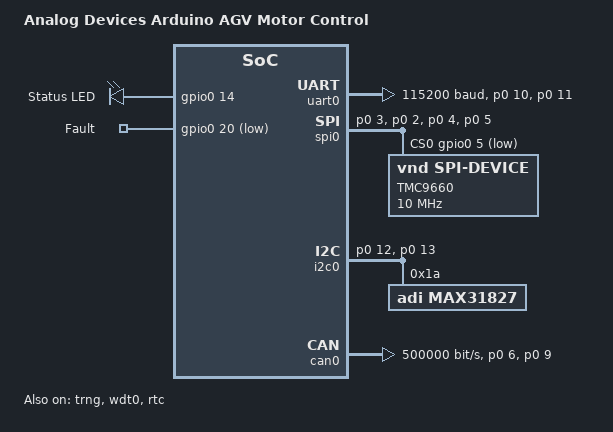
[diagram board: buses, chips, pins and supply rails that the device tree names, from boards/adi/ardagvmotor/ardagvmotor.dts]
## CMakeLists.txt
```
cmake_minimum_required(VERSION 3.20.0)

# Get git revision or tag
execute_process(
	COMMAND git describe --tags --long --always --dirty
	WORKING_DIRECTORY ${CMAKE_CURRENT_SOURCE_DIR}
	OUTPUT_VARIABLE GIT_DESCRIBE
	OUTPUT_STRIP_TRAILING_WHITESPACE
)

add_compile_definitions(GIT_REVISION_STR="${GIT_DESCRIBE}")


# Bring in OOT board definition
list(APPEND BOARD_ROOT ${CMAKE_CURRENT_SOURCE_DIR})

find_package(Zephyr REQUIRED HINTS $ENV{ZEPHYR_BASE})
project(motor_control)

zephyr_include_directories(src)

target_sources(app PRIVATE
	src/main.c
	src/tmc9660.c
	objdict/OD.c
	src/cia402.c
	src/tmc9660_params.c
	src/storage.c
)

zephyr_include_directories(objdict)
```

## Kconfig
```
source "Kconfig.zephyr"

config SHELL_TMC_PARAMS
    bool "tmc_params shell commands"
    depends on SHELL

config TMC_RWE_PARAM_NAMES
    bool "Provide name strings for TMC9660 RWE parameters (persistent configuration)"
    depends on SHELL_TMC_PARAMS

config TMC_ALL_PARAM_NAMES
    bool "Provide name strings for all TMC9660 parameters"
    depends on SHELL_TMC_PARAMS

config CIA402_THREAD_STACK_SIZE
    int "CiA 402 thread stack size"
    default 1024
```

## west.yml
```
manifest:
  version: 0.7
  remotes:
    - name: innersource-ioan
      url-base: innersource:Ioan-Dragomir_adi
    - name: analogdevicesinc
      url-base: https://github.com/analogdevicesinc
    - name: zephyrproject-rtos
      url-base: https://github.com/zephyrproject-rtos
    - name: NTURacingTeam
      url-base: https://github.com/NTURacingTeam
  defaults:
    remote: zephyrproject-rtos
  projects:
    - name: zephyr
      remote: innersource-ioan
      revision: custom-zephyr-agv 
      import: true
    - name: canopennode
      remote: NTURacingTeam
      revision: 2487004b06e035efe211ee1a80e5b19a63530d78
      path: modules/canopennode
  self:
    path: ardagvmotor
```

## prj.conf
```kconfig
CONFIG_CAN=y
CONFIG_CANOPEN=y
CONFIG_CANOPEN_LOG_LEVEL_INF=y
CONFIG_CANOPENNODE=y
CONFIG_CANOPENNODE_CONFIG_FILE="CO_config_custom.h"
CONFIG_CANOPENNODE_MAINLINE_THREAD_STACK_SIZE=2048
CONFIG_CANOPENNODE_SYNC_THREAD_STACK_SIZE=2048

CONFIG_CANOPENNODE_LEDS_USE_GPIO=n
CONFIG_CANOPENNODE_LEDS_USE_CALLBACK=y

CONFIG_LOG=y
CONFIG_REBOOT=y
CONFIG_LOG_SPEED=y

#CONFIG_CAN_LOG_LEVEL_DBG=y
#CONFIG_CANOPEN_LOG_LEVEL_DBG=y

CONFIG_SHELL=y
CONFIG_SHELL_TMC_PARAMS=y
CONFIG_TMC_RWE_PARAM_NAMES=y

CONFIG_SMF=y

CONFIG_FLASH=y
CONFIG_NVS=y
CONFIG_NVS_LOG_LEVEL_DBG=y
```

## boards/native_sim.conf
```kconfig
CONFIG_NO_OPTIMIZATIONS=y
CONFIG_CAN_NATIVE_LINUX=y

CONFIG_CAN_MAX_FILTER=20
CONFIG_CANOPEN_LOG_LEVEL_DBG=y
```

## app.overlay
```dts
&flash0 {
    partitions {
        compatible = "fixed-partitions";
        #address-cells = <0x1>;
        #size-cells = <0x1>;

        storage_partition: partition@3c000 {
            label = "storage";
            reg = <0x3c000 0x4000>;
        };

        /* Tell the linker to leave it alone: */
        /*memory@1003c000 {
            compatible = "zephyr,memory-region";
            reg = <0x1003c000 0x4000>;
            zephyr,memory-region = "STORAGE";
        }*/
    };
};
```

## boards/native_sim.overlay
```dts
/ {
	chosen {
		zephyr,canbus = &can0;
	};
};

&can0 {
	status = "okay";
	host-interface = "vcan0";
};
```

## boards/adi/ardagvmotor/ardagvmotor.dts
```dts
/dts-v1/;

#include <adi/max32/max32662.dtsi>
#include <adi/max32/max32662-pinctrl.dtsi>
#include <zephyr/dt-bindings/gpio/adi-max32-gpio.h>

/ {
	soc {
		sram_all: memory@20000000 {
			compatible = "mmio-sram";
			reg = <0x20000000 DT_SIZE_K(80)>;
		};
    };
};

/ {
    model = "Analog Devices Arduino AGV Motor Control";
    compatible = "adi,ardagvmotor";

    chosen {
        zephyr,console = &uart0;
        zephyr,shell-uart = &uart0;
        zephyr,sram = &sram_all;
        zephyr,flash = &flash0;
        zephyr,canbus = &can0;
    };

    leds {
        compatible = "gpio-leds";
        status = "okay";

        led_status: led-status {
            gpios = <&gpio0 14 GPIO_ACTIVE_HIGH>;
            label = "Status LED";
            status = "okay";
        };
        
    };
    
    buttons {
        compatible = "gpio-keys";
        status = "okay";
        
        /* Can also be used as output to flash fault LED. */
        fault: fault {
            gpios = <&gpio0 20 (GPIO_ACTIVE_LOW)>;
            label = "Fault";
            status = "okay";
        };
    };

    aliases {
        /* Compatibility with samples */
        led0 = &led_status;
        watchdog0 = &wdt0;
    };
};

&clk_erfo {
    clock-frequency = < 24576000 >;
};

/* UART0 - debug (A) / TMC (B) UART */
&uart0 {
    pinctrl-0 = <&uart0a_tx_p0_10 &uart0a_rx_p0_11>;
    pinctrl-names = "default";
    current-speed = <115200>;
    data-bits = <8>;
    parity = "none";
    status = "okay";
};

&spi0 {
    status = "okay";
    pinctrl-0 = <&spi0a_copi_p0_3 &spi0a_cito_p0_2 &spi0a_sck_p0_4 &spi0a_ts0_p0_5>;
    pinctrl-names = "default";
    cs-gpios = <&gpio0 5 GPIO_ACTIVE_LOW>;
    
    tmc9660_spi: tmc9660-spi@0 {
        compatible = "vnd,spi-device";
        reg = <0>;
        spi-max-frequency = <10000000>;
        label = "TMC9660";
        status = "okay";
    };
};

&i2c0 {
	status = "okay";
	pinctrl-0 = <&i2c0a_scl_p0_12 &i2c0a_sda_p0_13>;
	pinctrl-names = "default";

    max31827@1a {
        compatible = "adi,max31827";
        reg = <0x1a>;
        label = "MAX31827";
        status = "okay";
    };
};

&can0 {
    status = "okay";
    pinctrl-0 = <&can0b_rx_p0_6 &can0b_tx_p0_9>;
    pinctrl-names = "default";
    bitrate = <500000>;
    sample-point = <850>;
};

&clk_ipo {
    status = "okay";
};

&dma0 {
    status = "okay";
};

&gpio0 {
    status = "okay";
};

&trng {
    status = "okay";
};

&wdt0 {
    status = "okay";
};

&clk_ertco {
    status = "okay";
};

/* adi-innersource: rtc
   zephyrprojext-rtos: rtc_clock */
&rtc {
    status = "okay";
};
```

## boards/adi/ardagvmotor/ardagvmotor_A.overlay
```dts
/ {
    buttons {
        btn: btn {
            gpios = <&gpio0 15 0>;
            label = "User button";
            status = "okay";
        };
    };

    aliases {
        sw0 = &btn;
    };
};

/* In revA boards, UART1 may be selected for communication with the TMC9660,
 * with solder jumpers JP2,3 set to position 1-2 */
 &uart1 {
    pinctrl-0 = <&uart1b_tx_p0_2 &uart1b_rx_p0_3>;
    pinctrl-names = "default";
    current-speed = <115200>; /* Up to 250k with auto baud detection, up to 5M if explicitly bootstrapped */
    data-bits = <8>;
    parity = "none";
    status = "disabled";
};
```

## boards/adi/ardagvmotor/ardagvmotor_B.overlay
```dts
/ {
    buttons {
        dip_sw: dip {
            gpios = <&gpio0 19 0>, <&gpio0 18 0>, <&gpio0 15 0>;
            label = "DIP Switch";
            status = "okay";
        };
    };
};
```

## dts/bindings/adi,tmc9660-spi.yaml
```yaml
# Copyright (c) 2024 Analog Devices, Inc.
# SPDX-License-Identifier: Apache-2.0

description: TMC9660 SPI

include:
  - name: spi-device.yaml

compatible: "adi,tmc9660-spi"
```

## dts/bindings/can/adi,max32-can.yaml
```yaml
# Copyright (c) 2024 Analog Devices, Inc.
# SPDX-License-Identifier: Apache-2.0

description: ADI MAX32 CAN

include:
  - name: can-controller.yaml
  - name: pinctrl-device.yaml

compatible: "adi,max32-can"

properties:
  reg:
    required: true

  interrupts:
    required: true

  pinctrl-0:
    type: phandles
    required: true
```

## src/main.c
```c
#include <zephyr/kernel.h>
#include <zephyr/drivers/gpio.h>
#include <zephyr/drivers/spi.h>
#include <zephyr/logging/log.h>
#include <zephyr/logging/log_ctrl.h>
#include <canopennode.h>

#include "tmc9660.h"
#include "cia402.h"
#include "OD.h"
#include "tmc9660_params.h"
#include "storage.h"

LOG_MODULE_REGISTER(main, LOG_LEVEL_INF);

static const struct gpio_dt_spec led_green = GPIO_DT_SPEC_GET(DT_PATH(leds, led_status), gpios);
static const struct gpio_dt_spec led_fault = GPIO_DT_SPEC_GET(DT_PATH(buttons, fault), gpios);
static const struct spi_dt_spec spi0 = SPI_DT_SPEC_GET(DT_NODELABEL(tmc9660_spi), SPI_MODE_CPHA | SPI_MODE_CPOL | SPI_WORD_SET(8), 0);
static const struct device *can = DEVICE_DT_GET(DT_CHOSEN(zephyr_canbus));

static const struct gpio_dt_spec dip1 = GPIO_DT_SPEC_GET_BY_IDX(DT_PATH(buttons, dip), gpios, 0);
static const struct gpio_dt_spec dip2 = GPIO_DT_SPEC_GET_BY_IDX(DT_PATH(buttons, dip), gpios, 1);
static const struct gpio_dt_spec dip3 = GPIO_DT_SPEC_GET_BY_IDX(DT_PATH(buttons, dip), gpios, 2);

#define CAN_BITRATE (DT_PROP_OR(DT_CHOSEN(zephyr_canbus), bitrate, \
					  DT_PROP_OR(DT_CHOSEN(zephyr_canbus), bus_speed, \
						     CONFIG_CAN_DEFAULT_BITRATE)) / 1000)

struct tmc9660_dev g_tmc9660;
struct canopen co;
struct cia402 cia402;

static struct k_thread cia402_thread_data;

K_THREAD_STACK_DEFINE(cia402_thread_stack, CONFIG_CIA402_THREAD_STACK_SIZE);

/* Indicator LEDs */

/* CiA 303-3 standardizes how to indicate the status of the device using a red
 * and green LED, covering blink patterns for various errors / states.
 */
void led_callback(struct canopen *co, bool green, bool red)
{
    gpio_pin_set_dt(&led_green, green);

	/* Red LED is shared between the TMC and MAX. To light it up,
	* its GPIO must be enabled and pulled low. To turn it off,
	* its GPIO should be floated, so that the TMC may control it, and also so
	* we can read the TMC fault line, if need be.
	*/
    gpio_pin_configure_dt(&led_fault, red ? GPIO_OUTPUT_ACTIVE : GPIO_INPUT);
}

int init_leds()
{
    int err;

    if(!gpio_is_ready_dt(&led_green))
    {
        LOG_ERR("Green LED device not ready");
        return -1;
    }
    
    if(!gpio_is_ready_dt(&led_fault))
    {
        LOG_ERR("Red LED device not ready");
        return -1;
    }

    if((err = gpio_pin_configure_dt(&led_green, GPIO_OUTPUT_INACTIVE)))
    {
        LOG_ERR("Green LED configure failed: %d", err);
        return err;
    }
    
    if((err = gpio_pin_configure_dt(&led_fault, GPIO_INPUT)))
    {
        LOG_ERR("Fault LED configure failed: %d", err);
        return err;
    }

    return 0;
}

/* CiA402 application-specific callbacks */
void cia402_cb_initialize() {
    // tmc9660_motor_stop(&g_tmc9660);
    
    tmc9660_set_param_retry(&g_tmc9660, COMMUTATION_MODE, 0, 3);

    // Initialization is already done. If it would have failed, cia402 wouldn't
    // have been initialized in the first place.
}

void cia402_cb_start() {
    tmc9660_set_param_retry(&g_tmc9660, COMMUTATION_MODE, 5, 3);
}

bool cia402_cb_is_started() {
    // Check if ABN1 is initialized. TODO: support for non-ABN setups
    int val;
    int ret = tmc9660_get_param_retry(&g_tmc9660, ABN_1_INIT_STATE, &val, 3);
    return ret == 0 && val == 3;
}

void cia402_cb_stop() {
    // tmc9660_motor_stop(&g_tmc9660);
    tmc9660_set_param_retry(&g_tmc9660, COMMUTATION_MODE, 0, 3);

    // Set OD target velocity to 0 so next time the motor starts, it doesn't jolt back to the last seen velocity value.
    OD_set_i32(OD_ENTRY_H60FF_targetVelocity, 0, 0, false);
}

bool cia402_cb_is_stopped() {
    // Check if commutation mode is SYSTEM_OFF, seems like that's what is set after MST
    // TODO: check if logic still stands with soft stops
    int val;
    int ret = tmc9660_get_param_retry(&g_tmc9660, COMMUTATION_MODE, &val, 3);
    return ret == 0 && val == 0;
}

void cia402_cb_oops() {
    k_oops();
}

void sync_callback(struct canopen *co, bool sync) {
    if(!sync) return;
    if(cia402_current_state(&cia402) != CIA402_OPERATION_ENABLED) return;

    int target_vel;
    int err = OD_get_i32(OD_ENTRY_H60FF_targetVelocity, 0, &target_vel, false);
    if(err != ODR_OK)
    {
        LOG_ERR("Could not read OD Target Velocity");
        return;
    }

    LOG_DBG("vel = %d", target_vel);
    tmc9660_set_param(&g_tmc9660, TARGET_VELOCITY, target_vel);

    int actual_pos, actual_vel, ramp_vel, target_torque, max_torque;
    err = 0;
    err |= tmc9660_get_param(&g_tmc9660, ACTUAL_POSITION, &actual_pos);
    err |= tmc9660_get_param(&g_tmc9660, ACTUAL_VELOCITY, &actual_vel);
    err |= tmc9660_get_param(&g_tmc9660, RAMP_VELOCITY, &ramp_vel);
    err |= tmc9660_get_param(&g_tmc9660, TARGET_TORQUE, &target_torque);
    err |= tmc9660_get_param(&g_tmc9660, MAX_TORQUE, &max_torque);

    if(err) {
        LOG_ERR("Could not read TMC9660 params");
    }

    err = 0;
    err |= OD_set_i32(OD_ENTRY_H6064_positionActualValue, 0, actual_pos, false);
    err |= OD_set_i32(OD_ENTRY_H606C_velocityActualValue, 0, actual_vel, false);
    err |= OD_set_i32(OD_ENTRY_H606B_velocityDemandValue, 0, ramp_vel, false);
    err |= OD_set_i16(OD_ENTRY_H6071_targetTorque, 0, target_torque, false);
    err |= OD_set_u16(OD_ENTRY_H6072_maxTorque, 0, max_torque, false);

    if(err)
    {
        LOG_ERR("Could not write TMC9660 params to OD");
        return;
    }
}

int main()
{
    int err;

    LOG_INF("Firmware git revision %s", GIT_REVISION_STR);

    // Initialize LEDs
	err = init_leds();
    if(err < 0)
    {
        LOG_ERR("CiA 303 LED indicator init failed");
        goto fail;
    }

    // Initialize and read DIP switches for CAN and I2C ID
    err = gpio_pin_configure_dt(&dip1, GPIO_INPUT);
    if(err < 0) {
        LOG_ERR("Could not initialize DIP GPIO 1: %d", err);
        goto fail;
    }
    err = gpio_pin_configure_dt(&dip2, GPIO_INPUT);
    if(err < 0) {
        LOG_ERR("Could not initialize DIP GPIO 2: %d", err);
        goto fail;
    }
    err = gpio_pin_configure_dt(&dip3, GPIO_INPUT);
    if(err < 0) {
        LOG_ERR("Could not initialize DIP GPIO 3: %d", err);
        goto fail;
    }
    
    int dip_setting = (gpio_pin_get_dt(&dip1) << 2) | (gpio_pin_get_dt(&dip2) << 1) | (gpio_pin_get_dt(&dip3) << 0); // Looking at the DIP switch with "1 2 3" going left to right = reading the number in binary
    LOG_INF("DIP switches set to %d", dip_setting);

    k_msleep(dip_setting * 5); // Delay each node's bringup differently to reduce initial clashes

    // Initialize canopen
    co.can_dev = can;
    co.node_id = 0x10 + dip_setting;
    LOG_INF("CANopen node ID = %d", co.node_id);
    co.bitrate = CAN_BITRATE;
    co.nmt_control = CO_NMT_STARTUP_TO_OPERATIONAL;
    co.led_callback = led_callback;
    co.sync_callback = sync_callback;
    err = canopen_init(&co);
    if(err < 0)
    {
        LOG_ERR("CANopenNode init failed");
        goto fail;
    }

    // Initialize CiA 402 
    cia402.co = &co;
    cia402.cb_initialize = cia402_cb_initialize;
    cia402.cb_start = cia402_cb_start;
    cia402.cb_is_started = cia402_cb_is_started;
    cia402.cb_stop = cia402_cb_stop;
    cia402.cb_is_stopped = cia402_cb_is_stopped;
    cia402_init(&cia402);

    // Initialize TMC9660
    err = tmc9660_init(&g_tmc9660, &spi0);
    if(err < 0)
    {
        LOG_ERR("TMC9660 init failed");
        cia402_enter_fault(&cia402);
        CO_errorReport(co.CO->em, CO_ERR_REG_GENERIC_ERR, CO_EMC_HARDWARE, 9660);
        CO_NMT_sendInternalCommand(co.CO->NMT, CO_NMT_ENTER_STOPPED);
        return -1;
    }

    // Initialize nonvolatile storage
    storage_init();

    // Load parameters from flash
    tmc_params_load(&g_tmc9660);

    // Make sure motor is stopped
    tmc9660_motor_stop(&g_tmc9660);

    LOG_INF("Initialization OK!");

    // Start cia402 thread
	k_tid_t cia402_tid = k_thread_create(&cia402_thread_data, cia402_thread_stack,
        K_THREAD_STACK_SIZEOF(cia402_thread_stack),
        cia402_thread_run, &cia402, NULL, NULL,
        3, 0, K_NO_WAIT);
    k_thread_name_set(cia402_tid, "canopen_cia402");

    // Miscellaneous logic
    while(true) {
        int supply_voltage;
        tmc9660_get_param(&g_tmc9660, SUPPLY_VOLTAGE, &supply_voltage);
        OD_set_u16(OD_ENTRY_H2122_TMC9660SUPPLY_VOLTAGE, 0, (uint16_t) supply_voltage, false);

        k_msleep(1000);
    }

    return 0;

fail:
    return err;
}
```

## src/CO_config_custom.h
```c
#include "301/CO_config.h"

#undef CO_CONFIG_NMT
#define CO_CONFIG_NMT (CO_CONFIG_GLOBAL_FLAG_TIMERNEXT | CO_CONFIG_GLOBAL_FLAG_CALLBACK_PRE)

#undef CO_CONFIG_HB_CONS
#define CO_CONFIG_HB_CONS (0)

// ?? does this do anyth?
#undef CO_CONFIG_TIME
#define CO_CONFIG_TIME (0)

#undef CO_CONFIG_SYNC
#define CO_CONFIG_SYNC (CO_CONFIG_SYNC_ENABLE | CO_CONFIG_GLOBAL_RT_FLAG_CALLBACK_PRE | CO_CONFIG_GLOBAL_FLAG_TIMERNEXT | CO_CONFIG_GLOBAL_FLAG_OD_DYNAMIC)

#undef CO_CONFIG_PDO
#define CO_CONFIG_PDO (CO_CONFIG_RPDO_ENABLE | CO_CONFIG_TPDO_ENABLE | CO_CONFIG_PDO_SYNC_ENABLE | CO_CONFIG_PDO_OD_IO_ACCESS | CO_CONFIG_GLOBAL_RT_FLAG_CALLBACK_PRE | CO_CONFIG_GLOBAL_FLAG_TIMERNEXT | CO_CONFIG_GLOBAL_FLAG_OD_DYNAMIC)

#undef CO_CONFIG_STORAGE
#define CO_CONFIG_STORAGE (0)

// Will do LED logic manually because of the weird red LED behaviour
#undef CO_CONFIG_LEDS
#define CO_CONFIG_LEDS (CO_CONFIG_LEDS_ENABLE | CO_CONFIG_GLOBAL_FLAG_TIMERNEXT)

// Won't use LSS - node config just via DIP switches
#undef CO_CONFIG_LSS
#define CO_CONFIG_LSS (0)


#define CO_CONFIG_DEBUG (CO_CONFIG_DEBUG_COMMON | CO_CONFIG_DEBUG_SDO_SERVER | CO_CONFIG_DEBUG_SDO_CLIENT)
#define CO_DEBUG_COMMON(...) LOG_INF(...)
```

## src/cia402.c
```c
#include <zephyr/logging/log.h>
#include <zephyr/drivers/can.h>
#include <canopennode.h>

#include "cia402.h"
#include "OD.h"

LOG_MODULE_REGISTER(cia402, LOG_LEVEL_INF);

static const struct smf_state cia402_states[];

void cia402_enter_fault(struct cia402 *cia402) {
    smf_set_state(&cia402->smf_ctx, &cia402_states[CIA402_FAULT_REACTION_ACTIVE]);
}

enum cia402_state cia402_current_state(struct cia402 *cia402) {
    // Pointer arithmetic to return index into cia402_states[], which is a state enum value
    return cia402->smf_ctx.current - cia402_states;
}

static void cia402_unrecoverable_error(struct cia402 *cia402) {
    cia402->cb_oops(cia402);
}

// Sets and transmits the StatusWord
static void cia402_statusword(struct cia402* cia402, int statusword) {
    LOG_DBG("StatusWord = 0x%04X", statusword);
    if(OD_set_u16(OD_ENTRY_H6041_statusword, 0, statusword, true)) {
        LOG_ERR("Could not set Statusword");
        cia402_unrecoverable_error(cia402);
    }

    OD_requestTPDO(OD_getFlagsPDO(OD_ENTRY_H6041_statusword), 0);
}

// CIA402_NOT_READY_TO_SWITCH_ON: low power, disabled drive, brake enabled if exists. run self-test + init
static void enter_not_ready_to_switch_on(void *p) {
    struct cia402 *cia402 = p;
    LOG_INF("Entering state: NOT_READY_TO_SWITCH_ON");
    cia402_statusword(cia402, 0);
}

static void run_not_ready_to_switch_on(void *p) {
    struct cia402 *cia402 = p;
    cia402->cb_initialize(cia402);
    smf_set_state(&cia402->smf_ctx, &cia402_states[CIA402_SWITCH_ON_DISABLED]);
}


// CIA402_SWITCH_ON_DISABLED: self-test + init ok. idle powered-down state
static void enter_switch_on_disabled(void *p) {
    struct cia402 *cia402 = p;
    LOG_INF("Entering state: SWITCH_ON_DISABLED");
    cia402_statusword(cia402, CIA402_BIT_SWITCHONDISABLED);
}


// CIA402_READY_TO_SWITCH_ON: maybe high power, drive disabled. intermediary state during motor power-up
static void enter_ready_to_switch_on(void *p) {
    struct cia402 *cia402 = p;
    LOG_INF("Entering state: READY_TO_SWITCH_ON");
    cia402_statusword(cia402, CIA402_BIT_QUICKSTOP | CIA402_BIT_READYTOSWITCHON);
}


// CIA402_SWITCHED_ON: high power, drive disabled. intermediary state during motor power-up
static void enter_switched_on(void *p) {
    struct cia402 *cia402 = p;
    LOG_INF("Entering state: SWITCHED_ON");
    cia402_statusword(cia402, CIA402_BIT_QUICKSTOP | CIA402_BIT_READYTOSWITCHON | CIA402_BIT_SWITCHON);
    cia402->cb_start(cia402);
}


// CIA402_OPERATION_ENABLED: high power, drive enabled, motor actively communicating and moving
static void enter_operation_enabled(void *p) {
    struct cia402 *cia402 = p;
    LOG_INF("Entering state: OPERATION_ENABLED");
    cia402_statusword(cia402, CIA402_BIT_QUICKSTOP | CIA402_BIT_READYTOSWITCHON | CIA402_BIT_SWITCHON | CIA402_BIT_OPERATIONEN);
}


// CIA402_QUICK_STOP_ACTIVE: stop motor, then go to SWITCH_ON_DISABLED
static void enter_quick_stop_active(void *p) {
    struct cia402 *cia402 = p;
    LOG_INF("Entering state: QUICK_STOP_ACTIVE");
    cia402_statusword(cia402, CIA402_BIT_READYTOSWITCHON | CIA402_BIT_SWITCHON | CIA402_BIT_OPERATIONEN);
    cia402->cb_stop(cia402);
}

static void run_quick_stop_active(void *p) {
    struct cia402 *cia402 = p;
    if(cia402->cb_is_stopped(cia402)) {
        smf_set_state(&cia402->smf_ctx, &cia402_states[CIA402_SWITCH_ON_DISABLED]);
    }
}


// CIA402_FAULT_REACTION_ACTIVE: stop motor, then go to FAULT
static void enter_fault_reaction_active(void *p) {
    struct cia402 *cia402 = p;
    LOG_INF("Entering state: FAULT_REACTION_ACTIVE");
    cia402_statusword(cia402, CIA402_BIT_FAULT | CIA402_BIT_READYTOSWITCHON | CIA402_BIT_SWITCHON | CIA402_BIT_OPERATIONEN);
    cia402->cb_stop(cia402);
}

static void run_fault_reaction_active(void *p) {
    struct cia402 *cia402 = p;
    if(cia402->cb_is_stopped(cia402)) {
        smf_set_state(&cia402->smf_ctx, &cia402_states[CIA402_FAULT]);
    }
}


// CIA402_FAULT: stay in this state until explicitly taken out
static void enter_fault(void *p) {
    struct cia402 *cia402 = p;
    LOG_INF("Entering state: FAULT");
    cia402_statusword(cia402, CIA402_BIT_FAULT);
}

static void cia402_ensure_power_disabled(void *p) {
    struct cia402 *cia402 = p;
    if(!cia402->cb_is_stopped(cia402)) {
        LOG_WRN("Power was not disabled, as expected!");
        cia402->cb_stop(cia402);
    }
}

static void enter_group_power_disabled(void *p) {
    struct cia402 *cia402 = p;
    LOG_INF("Entering state group: power disabled");
    cia402_ensure_power_disabled(cia402);
}

static void enter_group_power_enabled(void *p) {
    __unused struct cia402 *cia402 = p;
    LOG_INF("Entering state group: power enabled");
}

static void enter_group_fault(void *p) {
    struct cia402 *cia402 = p;
    LOG_INF("Entering state group: fault");
    cia402_ensure_power_disabled(cia402);
}

#define CIA402_GROUP_POWER_DISABLED CIA402_FAULT+1
#define CIA402_GROUP_POWER_ENABLED  CIA402_FAULT+2
#define CIA402_GROUP_FAULT          CIA402_FAULT+3

static const struct smf_state cia402_states[] = {
    [CIA402_NOT_READY_TO_SWITCH_ON] = SMF_CREATE_STATE(enter_not_ready_to_switch_on, run_not_ready_to_switch_on, NULL, &cia402_states[CIA402_GROUP_POWER_DISABLED], NULL),
    [CIA402_SWITCH_ON_DISABLED]     = SMF_CREATE_STATE(enter_switch_on_disabled,     NULL,                       NULL, &cia402_states[CIA402_GROUP_POWER_DISABLED], NULL),
    [CIA402_READY_TO_SWITCH_ON]     = SMF_CREATE_STATE(enter_ready_to_switch_on,     NULL,                       NULL, &cia402_states[CIA402_GROUP_POWER_DISABLED], NULL),
    [CIA402_SWITCHED_ON]            = SMF_CREATE_STATE(enter_switched_on,            NULL,                       NULL, &cia402_states[CIA402_GROUP_POWER_ENABLED],  NULL),
    [CIA402_OPERATION_ENABLED]      = SMF_CREATE_STATE(enter_operation_enabled,      NULL,                       NULL, &cia402_states[CIA402_GROUP_POWER_ENABLED],  NULL),
    [CIA402_QUICK_STOP_ACTIVE]      = SMF_CREATE_STATE(enter_quick_stop_active,      run_quick_stop_active,      NULL, &cia402_states[CIA402_GROUP_POWER_ENABLED],  NULL),
    [CIA402_FAULT_REACTION_ACTIVE]  = SMF_CREATE_STATE(enter_fault_reaction_active,  run_fault_reaction_active,  NULL, &cia402_states[CIA402_GROUP_FAULT],          NULL),
    [CIA402_FAULT]                  = SMF_CREATE_STATE(enter_fault,                  NULL,                       NULL, &cia402_states[CIA402_GROUP_FAULT],          NULL),

    // Parent state machines for Power Enabled / Power Disabled / Fault "groups"
    [CIA402_GROUP_POWER_DISABLED] = SMF_CREATE_STATE(enter_group_power_disabled, NULL, NULL, NULL, NULL),
    [CIA402_GROUP_POWER_ENABLED]  = SMF_CREATE_STATE(enter_group_power_enabled, NULL, NULL, NULL, NULL),
    [CIA402_GROUP_FAULT]          = SMF_CREATE_STATE(enter_group_fault, NULL, NULL, NULL, NULL),
};

// Debug CAN error counters and bus state
static void can_debug_state(struct cia402 *cia402) {
    static int prev_tx_err_cnt = 0, prev_rx_err_cnt = 0;
    static enum can_state prev_state = CAN_STATE_STOPPED;
	struct can_bus_err_cnt err_cnt;
	enum can_state state;
	int err;

	err = can_get_state(cia402->co->can_dev, &state, &err_cnt);
	if (err != 0) {
		LOG_ERR("failed to get CAN controller state (err %d)", err);
		return;
	}
    if(prev_tx_err_cnt != err_cnt.tx_err_cnt || prev_rx_err_cnt != err_cnt.rx_err_cnt || prev_state != state) {
		LOG_DBG("CAN TEC = %d\tREC = %d\tstate = %s", err_cnt.tx_err_cnt, err_cnt.rx_err_cnt,
            state == CAN_STATE_ERROR_ACTIVE ? "ACTIVE" :
            state == CAN_STATE_ERROR_WARNING ? "WARNING" :
            state == CAN_STATE_ERROR_PASSIVE ? "PASSIVE" :
            state == CAN_STATE_BUS_OFF ? "BUS_OFF" :
            state == CAN_STATE_STOPPED ? "STOPPED" : "???"
        );
    }

    if(state == CAN_STATE_BUS_OFF) {
        // TODO rate limit, if it goes into bus off a lot, stop resetting and just leave it in the fault state
        LOG_ERR("Bus-off: killing motor");
        CO_NMT_sendInternalCommand(cia402->co->CO->NMT, CO_NMT_ENTER_STOPPED);
        cia402_enter_fault(cia402);
    }
    
    prev_tx_err_cnt = err_cnt.tx_err_cnt;
    prev_rx_err_cnt = err_cnt.rx_err_cnt;
    prev_state = state;
}

void cia402_thread_run(void *arg1, void *unused2, void *unused3) {
    struct cia402 *cia402 = arg1;

    ARG_UNUSED(unused2);
    ARG_UNUSED(unused3);

    while(k_yield(), !cia402->_unrecoverable_error_flag)
    {
        can_debug_state(cia402);

        // Check NMT state, CiA 402 logic only makes sense inside OPERATIONAL
        if(cia402->co->CO->NMT->operatingState == CO_NMT_STOPPED) {
            smf_set_state(&cia402->smf_ctx, &cia402_states[CIA402_FAULT_REACTION_ACTIVE]);

            LOG_ERR("NMT STOPPED");
            while(cia402->co->CO->NMT->operatingState == CO_NMT_STOPPED) { // No point in doing anything until the canopen thread takes us out of the stopped state
                k_msleep(1);
            }
            LOG_INF("NMT un-stopped");
            continue;
        }
        
        if(cia402->co->CO->NMT->operatingState != CO_NMT_OPERATIONAL) {
            k_msleep(1);
            continue;
        }

        // Run current state's logic one step, along with all code-triggered transitions (as opposed to external commands)
        smf_run_state(&cia402->smf_ctx);

        // Handle ControlWord transitions
        uint16_t controlword;
        int err = OD_get_u16(OD_ENTRY_H6040_controlword, 0, &controlword, false);
        if(err != ODR_OK) {
            LOG_ERR("Could not read ControlWord: %d", err);
            cia402_unrecoverable_error(cia402);
            break;
        }

        // FIXME: Use write extension to detect writes, not a sentinel value
        if(controlword == 0xffff) {
            // No write
            k_msleep(1);
            continue;
        }
        OD_set_u16(OD_ENTRY_H6040_controlword, 0, 0xFFFF, true);
        
        LOG_DBG("ControlWord = %04X", controlword);

        // Parse ControlWord bits (cia402 v2.0 10.3.1)
        const bool cw_halt             = (controlword >> 8) & 1; // TODO: How to properly handle? Should be something like enabling the motor but forcing it to brake.
        const bool cw_fault_reset      = (controlword >> 7) & 1;
        const bool cw_enable_operation = (controlword >> 3) & 1;
        const bool cw_quick_stop       = (controlword >> 2) & 1;
        const bool cw_enable_voltage   = (controlword >> 1) & 1;
        const bool cw_switch_on        = (controlword >> 0) & 1;

        // Compute commands (cia402 v2.0 10.3.1 table 4)
        const bool com_fault_reset       = cw_fault_reset;
        const bool com_shutdown          = !cw_fault_reset && cw_quick_stop && cw_enable_voltage && !cw_switch_on;
        const bool com_switch_on         = !cw_fault_reset && cw_quick_stop && cw_enable_voltage && cw_switch_on; // Enable operaion is "=0 OR =1" so an effective X
        const bool com_enable_operation  = !cw_fault_reset && cw_enable_operation && cw_quick_stop && cw_enable_voltage && cw_switch_on;
        const bool com_disable_operation = !cw_fault_reset && !cw_enable_operation && cw_quick_stop && cw_enable_voltage && cw_switch_on;
        const bool com_disable_voltage   = !cw_fault_reset && !cw_enable_voltage;
        const bool com_quick_stop        = !cw_fault_reset && !cw_quick_stop && cw_enable_voltage;

        const enum cia402_state state = cia402_current_state(cia402);
        enum cia402_state nextState = state;

        // Compute transitions (via402 v2.0 10.1.1.2)
        // Transitions 0, 1: automatic, already happened by now

        // Transitions 2, 3, 4: SWITCH_ON_DISABLED -> READY_TO_SWITCH_ON -> SWITCHED_ON -> OPERATION_ENABLE
        if(state == CIA402_SWITCH_ON_DISABLED && com_shutdown)                                          nextState = CIA402_READY_TO_SWITCH_ON;
        if(state == CIA402_READY_TO_SWITCH_ON && com_switch_on)                                         nextState = CIA402_SWITCHED_ON;
        if(state == CIA402_SWITCHED_ON        && com_enable_operation && cia402->cb_is_started(cia402)) nextState = CIA402_OPERATION_ENABLED;

        // Transitions 5, 6, 7: OPERATION_ENABLE -> SWITCHED_ON -> READY_TO_SWITCH_ON -> SWITCH_ON_DISABLED
        if(state == CIA402_OPERATION_ENABLED  && com_disable_operation)                   nextState = CIA402_SWITCHED_ON;
        if(state == CIA402_SWITCHED_ON        && com_shutdown)                            nextState = CIA402_READY_TO_SWITCH_ON;
        if(state == CIA402_READY_TO_SWITCH_ON && (com_quick_stop || com_disable_voltage)) nextState = CIA402_SWITCH_ON_DISABLED;

        // Transitions 8, 9: Power off from OPERATION_ENABLED
        if(state == CIA402_OPERATION_ENABLED && com_shutdown)        nextState = CIA402_READY_TO_SWITCH_ON;
        if(state == CIA402_OPERATION_ENABLED && com_disable_voltage) nextState = CIA402_SWITCH_ON_DISABLED;

        // Transitions 10, 11, 12: Quick stop
        if(state == CIA402_SWITCHED_ON && (com_quick_stop || com_disable_voltage)) nextState = CIA402_SWITCH_ON_DISABLED;
        if(state == CIA402_OPERATION_ENABLED && com_quick_stop) nextState = CIA402_QUICK_STOP_ACTIVE;
        if(state == CIA402_QUICK_STOP_ACTIVE && com_disable_voltage) nextState = CIA402_SWITCH_ON_DISABLED; // "Quick stop is completed" check handled in run_quick_stop_active

        // Transitions 13, 14 implemented by cia402_enter_fault, run_fault_reaction_active
        
        // Transition 15: FAULT -> SWITCH_ON_DISABLED 
        if(state == CIA402_FAULT && com_fault_reset) nextState = CIA402_SWITCH_ON_DISABLED;
        
        if(nextState != state) {
            smf_set_state(&cia402->smf_ctx, &cia402_states[nextState]);
        }

        k_msleep(1);
    }
}

void cia402_init(struct cia402* cia402) {
    cia402->statusword_extension.read = OD_readOriginal;
    cia402->statusword_extension.write = OD_writeOriginal;
    cia402->mod_extension.read = OD_readOriginal;
    cia402->mod_extension.write = OD_writeOriginal;
    cia402->vel_extension.read = OD_readOriginal;
    cia402->vel_extension.write = OD_writeOriginal;
    cia402->pos_extension.read = OD_readOriginal;
    cia402->pos_extension.write = OD_writeOriginal;

    OD_extension_init(OD_ENTRY_H6041_statusword, &cia402->statusword_extension);
    OD_extension_init(OD_ENTRY_H6061_modesOfOperationDisplay, &cia402->mod_extension);
    OD_extension_init(OD_ENTRY_H606C_velocityActualValue, &cia402->vel_extension);
    OD_extension_init(OD_ENTRY_H6064_positionActualValue, &cia402->pos_extension);

    cia402->_unrecoverable_error_flag = false;

    smf_set_initial(&cia402->smf_ctx, &cia402_states[CIA402_NOT_READY_TO_SWITCH_ON]);
}
```

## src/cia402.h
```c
#ifndef CIA402_H_
#define CIA402_H_

#include <zephyr/smf.h>

enum cia402_state {
    CIA402_NOT_READY_TO_SWITCH_ON, // Low power, disabled drive, brake enabled if exists. Run self-test + init
    CIA402_SWITCH_ON_DISABLED,     // Idle powered-down state
    CIA402_READY_TO_SWITCH_ON,     // Intermediary state during motor power-up. Maybe high power (depends on application), drive disabled
    CIA402_SWITCHED_ON,            // Intermediary state during motor power-up. High power, drive disabled
    CIA402_OPERATION_ENABLED,      // Motor powered on, drive enabled
    CIA402_QUICK_STOP_ACTIVE,      // Quick stop active
    CIA402_FAULT_REACTION_ACTIVE,  // Stopping because of a fault condition
    CIA402_FAULT                   // Final fault state. Needs explicit action to return to the rest of the state machine
};

#define CIA402_BIT_READYTOSWITCHON (1 << 0)
#define CIA402_BIT_SWITCHON (1 << 1)
#define CIA402_BIT_OPERATIONEN (1 << 2)
#define CIA402_BIT_FAULT (1 << 3)
#define CIA402_BIT_VOLTAGEEN (1 << 4)
#define CIA402_BIT_QUICKSTOP (1 << 5)
#define CIA402_BIT_SWITCHONDISABLED (1 << 6)
#define CIA402_BIT_WARNING (1 << 7)
#define CIA402_BIT_REMOTE (1 << 9)
#define CIA402_BIT_TARGET (1 << 10)
#define CIA402_BIT_LIMIT (1 << 11)

#define CIA402_BIT_PV_SPEED (1 << 11)
#define CIA402_BIT_PV_MAXSLIP (1 << 11)

struct cia402 {
    struct smf_ctx smf_ctx;
    struct canopen *co;

    /* Application-specific callbacks 
     *
     * FIXME: Is this the sanest way around this? I would like cia402 to have
     *        the state machine logic, but as few side effects (communication
     *        with the motor driver) as possible.
     */

    // Callback for initializing motor drive and performing self-test.
    void (*cb_initialize)(struct cia402 *);

    // Callback for initiating motor enable
    void (*cb_start)(struct cia402 *);

    // Callback for checking if the motor has started and can be controlled. Only called after a previous cb_start call.
    bool (*cb_is_started)(struct cia402 *);

    // Callback for powering off the motor (ordinary stop, quick stop, fault reaction). This may initiate a slow down sequence, but should finally result in a "limp" drive.
    void (*cb_stop)(struct cia402 *);

    // Callback for checking if motor has been stopped. Only called after a previous cb_stop call.
    bool (*cb_is_stopped)(struct cia402 *);

    // Callback for cleanup in case of unrecoverable errors. May call k_oops() at the end.
    void (*cb_oops)(struct cia402 *);

    // CANopenNode requires extensions for event-based TPDO requests
    OD_extension_t statusword_extension;
    OD_extension_t mod_extension;
    OD_extension_t vel_extension;
    OD_extension_t pos_extension;

    bool _unrecoverable_error_flag;
};

// Initialize cia402 struct, OD extensions, state machine
void cia402_init(struct cia402* cia402);

// Enter fault and trigger application specific motor stop logic
void cia402_enter_fault(struct cia402 *cia402);

// Get current cia402 state machine state
enum cia402_state cia402_current_state(struct cia402 *cia402);

void cia402_thread_run(void *arg1, void *unused2, void *unused3);

#endif /* CIA402_H_ */
```

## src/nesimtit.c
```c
#include <stdint.h>
#include <zephyr/kernel.h>
#include <spi.h>
#include <gpio.h>
#include <string.h>
#include <zephyr/logging/log.h>

LOG_MODULE_REGISTER(nesimtit, LOG_LEVEL_DBG);

void nesimtit_init()
{
    // SPI to TMC9660
    mxc_spi_pins_t tmp;
    MXC_SPI_Init(MXC_SPI0, 1, 0, 1, 0, 5000000, tmp);
    MXC_SPI_SetDataSize(MXC_SPI0, 8);
    MXC_SPI_SetMode(MXC_SPI0, 3);
    MXC_SPI0->sstime = 0x001919; // max inactive (256), a bit of post, a bit of pre (0x19 = 25 ~ 1us)
    // cca 50-65us between CS seems to be the fastest we can go

    LOG_INF("Bodged SPI initialized!");
}

int nesimtit_spi_transceive(char *tx, char *rx)
{
    struct _mxc_spi_req_t req = {
        .spi = MXC_SPI0,
        .ssIdx = 0,
        .ssDeassert = 1,
        .txData = tx,
        .rxData = rx,
        .txLen = tx ? 8 : 0,
        .rxLen = rx ? 8 : 0,
        .txCnt = 0,
        .rxCnt = 0,
        .completeCB = NULL
    };
    k_busy_wait(100); // @5MHz: 10 unstable
    return MXC_SPI_MasterTransaction(&req);
}
```

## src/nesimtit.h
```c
#ifdef ESTI_NESIMTIT

// Wrappers around MSDK functions for peripherals

/* Initialize bodged SPI */
void nesimtit_init();

/* Transmit / receive an 8 byte SPI datagram. tx, rx can be NULL. */
int nesimtit_spi_transceive(char *tx, char *rx);

#endif // ESTI_NESIMTIT
```

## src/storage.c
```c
#include "storage.h"
#include <zephyr/storage/flash_map.h>
#include <zephyr/fs/nvs.h>
#include <zephyr/logging/log.h>

LOG_MODULE_REGISTER(storage, LOG_LEVEL_INF);

#define NVS_PARTITION        storage_partition
#define NVS_PARTITION_DEVICE FIXED_PARTITION_DEVICE(NVS_PARTITION)
#define NVS_PARTITION_OFFSET FIXED_PARTITION_OFFSET(NVS_PARTITION)

struct nvs_fs fs = {
    .flash_device = NVS_PARTITION_DEVICE,
    .offset = NVS_PARTITION_OFFSET,
    .sector_size = 8192, // Page size = 8192
    .sector_count = 2, // Fill a page
};

void storage_init() {
    int ret = nvs_mount(&fs);

    if(ret) {
        LOG_ERR("Could not mount NVS");
    }

    LOG_INF("NVS free space: %d", nvs_calc_free_space(&fs));
}

int storage_get(enum nvs_id id, void *data, size_t len) {
    int ret = nvs_read(&fs, id, data, len);
    if(ret < 0) return ret;
    return 0;
}

int storage_put(enum nvs_id id, void *data, size_t len) {
    int ret = nvs_write(&fs, id, data, len);
    if(ret < 0) return ret;
    return 0;
}
```

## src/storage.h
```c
#ifndef __STORAGE_H
#define __STORAGE_H

#include <sys/types.h>

enum nvs_id {
    TMC9660_PARAMS_STORAGE = 0,
};

void storage_init();
int storage_get(enum nvs_id id, void *data, size_t len);
int storage_put(enum nvs_id id, void *data, size_t len);

#endif /* __STORAGE_H */
```

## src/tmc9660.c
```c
#include <errno.h>
#include <zephyr/drivers/spi.h>
#include <zephyr/logging/log.h>
#include "tmc9660.h"

LOG_MODULE_REGISTER(tmc9660, LOG_LEVEL_INF);

enum tmc9660_spi_status {
    SPI_STATUS_OK = 0xff,
    SPI_STATUS_CHECKSUM_ERROR = 0x00,
    SPI_STATUS_FIRST_CMD = 0x0c,
    SPI_STATUS_NOT_READY = 0xf0
};

enum tmc9660_tmcl_status {
    REPLY_OK = 100,
    REPLY_CMD_LOADED = 101,
    REPLY_CHKERR = 1,
    REPLY_INVALID_CMD = 2,
    REPLY_WRONG_TYPE = 3,
    REPLY_INVALID_VALUE = 4,
    REPLY_CMD_NOT_AVAILABLE = 6,
    REPLY_CMD_LOAD_ERROR = 7,
    REPLY_MAX_EXCEEDED = 9,
    REPLY_DOWNLOAD_NOT_POSSIBLE = 10
};

// Parameter mode checksum
// NOT SUITABLE FOR BOOTLOADER MODE, THAT EXPECTS CRC
uint8_t tmc9660_checksum(uint8_t buffer[8])
{
    uint8_t res = 0;
    for(int i = 0; i < 7; i++)
        res += buffer[i];
    return res;
}

int tmc9660_tmcl_command(
    struct tmc9660_dev *dev,
    enum tmc9660_operation_id operation,
    uint16_t type,
    uint8_t motorbank,
    uint32_t value_send,
    uint32_t *value_recv
)
{
    k_mutex_lock(&dev->mutex, K_FOREVER);

    uint8_t noop[8] = {
        GetInfo, 0, 0, 0, 0, 0, 0, GetInfo
    };
    uint8_t send[8] = {
        operation,
        (type & 0xff),
        ((type&0xf00)>>4) | motorbank,
        (value_send >> 24) & 0xff,
        (value_send >> 16) & 0xff,
        (value_send >> 8) & 0xff,
        (value_send >> 0) & 0xff,
        0
    };
    uint8_t recv[8] = { 0 };

    struct spi_buf tx_buf[2] = {
        { .buf = send, .len = 8 }
    };
    struct spi_buf_set tx_bufs = {
        .buffers = tx_buf, .count = 1
    };
    struct spi_buf rx_buf[2] = {
        { .buf = recv, .len = 8 },
    };
    struct spi_buf_set rx_bufs = {
        .buffers = rx_buf, .count = 1
    };
    struct spi_buf noop_buf[2] = {
        { .buf = noop, .len = 8 },
    };
    struct spi_buf_set noop_bufs = {
        .buffers = noop_buf, .count = 1
    };

    send[7] = tmc9660_checksum(send);
    
    uint8_t spi_status, tmcl_status, reply_operation;
    uint32_t data;

    k_usleep(20);

    int retries = 5;
    do {
        spi_transceive_dt(dev->spi, &tx_bufs, &rx_bufs);

        if(recv[0] == SPI_STATUS_CHECKSUM_ERROR) {
            LOG_DBG("Previously sent bad checksum...");
            LOG_HEXDUMP_DBG(send, 8, "SPI send");
            LOG_HEXDUMP_DBG(recv, 8, "SPI recv");
        }
        if(recv[0] == SPI_STATUS_NOT_READY) {
            k_usleep(20);
        }
    }
    while((recv[0] == SPI_STATUS_NOT_READY || recv[0] == SPI_STATUS_CHECKSUM_ERROR) && retries-- > 0);
    
    k_usleep(10);

    if(retries <= 0) {
        LOG_WRN("TMC9660 took 5 retries for submitting a command");
        k_mutex_unlock(&dev->mutex);
        return -1;
    }

    retries = 5;
    do {
        spi_transceive_dt(dev->spi, &noop_bufs, &rx_bufs);
        if(recv[0] == SPI_STATUS_NOT_READY) {
            k_usleep(10);
        }
    } while(recv[0] == SPI_STATUS_NOT_READY && retries-- > 0);
    
    if(retries <= 0) {
        LOG_WRN("TMC9660 took 5 retries for answering a command");
        k_mutex_unlock(&dev->mutex);
        return -1;
    }

    spi_status = recv[0];
    tmcl_status = recv[1];
    reply_operation = recv[2];
    data = (recv[3] << 24) | (recv[4] << 16) | (recv[5] << 8) | recv[6];

    if(recv[7] != tmc9660_checksum(recv))
    {
        // bad checksum - rest of datagram will be malformed, incl the checksul
        LOG_HEXDUMP_ERR(recv, 8, "Checksum error in received");
        k_mutex_unlock(&dev->mutex);
        return -EIO;
    }
    
    if(spi_status != SPI_STATUS_OK || retries < 4) {
        LOG_HEXDUMP_DBG(recv, 8, "SPI recv");
        LOG_WRN("tmcl(%d, %d, %d, %d) -> spi %d (want 255), tmcl %d (want 100), reply %d, data %08x, retries %d (want 5)", 
            operation, type, motorbank, value_send,
            spi_status, tmcl_status, reply_operation, data, retries);
    }
    /*if(tmcl_status != 100) {
        LOG_ERR("tmcl(%d, %d, %d, %d) -> spi %d (want 255), tmcl %d (want 100), reply %d, data %08x, retries %d (want 5)", 
            operation, type, motorbank, value_send,
            spi_status, tmcl_status, reply_operation, data, retries);
    }*/

    if(value_recv) *value_recv = data;

    k_mutex_unlock(&dev->mutex);

    // TODO: sanity check for returned values...
    switch(spi_status)
    {
    case SPI_STATUS_OK: break;
    case SPI_STATUS_CHECKSUM_ERROR: return -EIO;
    case SPI_STATUS_FIRST_CMD: return -EIO; // Should never happen outside of init
    case SPI_STATUS_NOT_READY: return -EAGAIN;
    }

    switch(tmcl_status)
    {
    case REPLY_OK: return 0;
    case REPLY_CMD_LOADED: return 0;
    case REPLY_CHKERR: return -EINVAL;
    case REPLY_INVALID_CMD: return -EOPNOTSUPP;
    case REPLY_WRONG_TYPE: return -EINVAL;
    case REPLY_INVALID_VALUE: return -EINVAL;
    case REPLY_CMD_NOT_AVAILABLE: return -EOPNOTSUPP;
    case REPLY_CMD_LOAD_ERROR: return -EPERM;
    case REPLY_MAX_EXCEEDED: return -EPERM;
    case REPLY_DOWNLOAD_NOT_POSSIBLE: return -EPERM;
    }

    CODE_UNREACHABLE;
}

int tmc9660_init(
    struct tmc9660_dev *dev,
    const struct spi_dt_spec *spi
)
{
    dev->spi = spi;
    k_mutex_init(&dev->mutex);

    k_mutex_lock(&dev->mutex, K_FOREVER);

    char tx[8] = { 3, 0, 0, 0, 0, 0, 0, 0 };
    char rx[8];
    tx[7] = tmc9660_checksum(tx);

    struct spi_buf tx_buf[1] = {
        { .buf = tx, .len = 8 }
    };
    struct spi_buf_set tx_bufs = { .buffers = tx_buf, .count = 1 };
    struct spi_buf rx_buf[1] = {
        { .buf = rx, .len = 8 }
    };
    struct spi_buf_set rx_bufs = { .buffers = rx_buf, .count = 1 };

    int retries = 5;
    do {
        LOG_HEXDUMP_DBG(tx, 8, "Init SPI send");

        spi_transceive_dt(dev->spi, &tx_bufs, &rx_bufs);
        k_busy_wait(100);

        LOG_HEXDUMP_DBG(rx, 8, "Init SPI recv");
    } while(!(rx[0] == SPI_STATUS_FIRST_CMD || rx[0] == SPI_STATUS_OK) && retries-- > 0);

    k_mutex_unlock(&dev->mutex);
    
    if(rx[0] != SPI_STATUS_FIRST_CMD && rx[0] != SPI_STATUS_OK) {
        // Invalid wakeup
        LOG_ERR("Invalid TMC wakeup");
        return -1;
    }

    return 0;
}

// TODO if performance is an issue: transaction function that allows for
// multiple operations wihout requring NOOPs for reading back data

int tmc9660_set_param(
    struct tmc9660_dev *dev,
    enum tmc9660_param_id param,
    int value
)
{
    return tmc9660_tmcl_command(dev, SAP, param, 0, value, NULL);
}

int tmc9660_set_param2(
    struct tmc9660_dev *dev,
    enum tmc9660_param_id param,
    int value,
    int *value_out
)
{
    return tmc9660_tmcl_command(dev, SAP, param, 0, value, value_out);
}

int tmc9660_set_param_retry(
    struct tmc9660_dev *dev,
    enum tmc9660_param_id param,
    int value,
    int retries
)
{
    int ret = 0;
    for(int i = 0; i < retries; i++) {
        ret = tmc9660_tmcl_command(dev, SAP, param, 0, value, NULL);
        if(ret == 0)
            return 0;
    }
    return ret;
}

int tmc9660_get_param(
    struct tmc9660_dev *dev,
    enum tmc9660_param_id param,
    int *value
)
{
    return tmc9660_tmcl_command(dev, GAP, param, 0, 0, value);
}

int tmc9660_get_param_retry(
    struct tmc9660_dev *dev,
    enum tmc9660_param_id param,
    int *value,
    int retries
)
{
    int ret = 0;
    for(int i = 0; i < retries; i++) {
        ret = tmc9660_tmcl_command(dev, GAP, param, 0, 0, value);
        if(ret == 0)
            return 0;
    }
    return ret;
}

int tmc9660_set_gpio(
    struct tmc9660_dev *dev,
    int port,
    int value
)
{
    return tmc9660_tmcl_command(dev, SIO, port, 0, value, NULL);
}

int tmc9660_get_gpio_analog(
    struct tmc9660_dev *dev,
    int port,
    int *value
)
{
    return tmc9660_tmcl_command(dev, GIO, port, 1, 0, value);
}

int tmc9660_get_gpio_digital(
    struct tmc9660_dev *dev,
    int port,
    int *value
)
{
    return tmc9660_tmcl_command(dev, GIO, port, 0, 0, value);
}

int tmc9660_motor_stop(
    struct tmc9660_dev *dev
)
{
    return tmc9660_tmcl_command(dev, MST, 0, 0, 0, 0);
}
```

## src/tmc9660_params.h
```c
#ifndef TMC9660_PARAMS_H_
#define TMC9660_PARAMS_H_

#include "tmc9660.h"

/* Read all RWE parameters from TMC9660 and save them to microcontroller flash */
int tmc_params_load(struct tmc9660_dev *dev);

/* Write all RWE parameters to TMC9660 using values from microcontroller flash */
int tmc_params_save(struct tmc9660_dev *dev);

#endif /* TMC9660_PARAMS_H_ */
```
